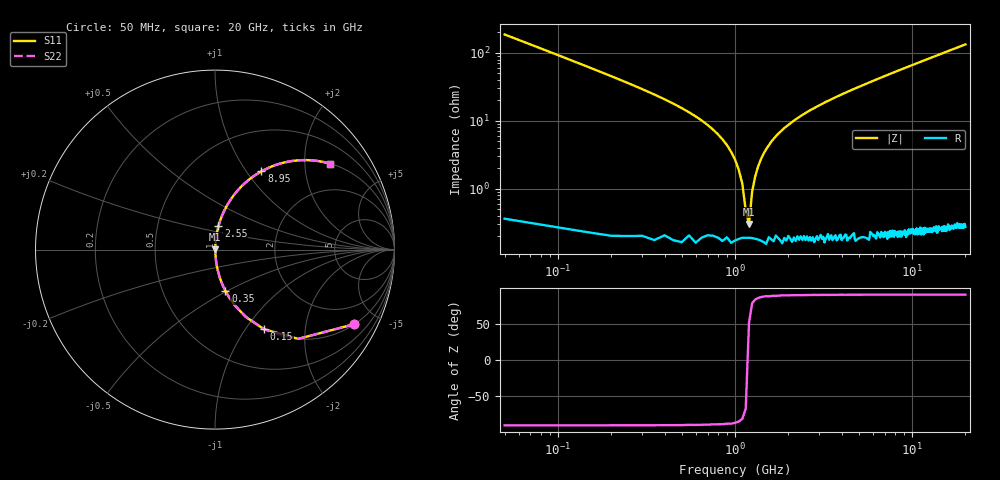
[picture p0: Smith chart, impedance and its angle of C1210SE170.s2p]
! AVX Thin Film Operation		Date: April 2012
! Description: Accu-P® Series, Thin Film, SMD, RF Capacitor
! Part Number: 12101J170FBTTR
!	50	MHz	-	20.05	GHz
!	Serial	Measurements
#	MHZ	S	MA	R	50
!	S11	S21	S12	S22
!	dB	Phase	dB	Phase	dB	Phase	dB	Phase
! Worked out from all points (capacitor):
!   400 points, 50 MHz to 20 GHz, reference 50 ohm
!   read as one part in series: C = 17 pF near 150 MHz
!   lowest |Z| = 302 mohm at 1.2 GHz (marker M1)
!   series resonance near 1.182 GHz, so ESL is about 1.1 nH
!   S11 on the Smith chart (normalised r, x): 50 MHz: 1.01, -3.74; 150 MHz: 1.01, -1.23; 350 MHz: 1.00, -0.49; 2.55 GHz: 1.00, +0.27; 8.95 GHz: 1.00, +1.18; 20 GHz: 1.00, +2.67
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50  0.881 -28.1  0.471 61.8  0.471 61.8  0.881 -28.1
100  0.68 -47.0  0.731 42.8  0.731 42.8  0.68 -47.0
150  0.522 -58.3  0.851 31.5  0.851 31.5  0.522 -58.3
250  0.336 -70.0  0.94 19.6  0.94 19.6  0.336 -70.0
350  0.237 -75.9  0.97 13.7  0.97 13.7  0.237 -75.9
950  0.035 -85.1  0.998 2.0  0.998 2.0  0.035 -85.1
1100  0.012 -80.5  0.998 0.7  0.998 0.7  0.012 -80.5
1150  0.004717 -67.6  0.998 0.2  0.998 0.2  0.004717 -67.6
1200  0.002952 52.9  0.998 -0.1  0.998 -0.1  0.002952 52.9
1250  0.008994 78.1  0.998 -0.5  0.998 -0.5  0.008994 78.1
1300  0.015 82.4  0.998 -0.9  0.998 -0.9  0.015 82.4
1400  0.027 84.7  0.998 -1.5  0.998 -1.5  0.027 84.7
1500  0.038 85.1  0.998 -2.2  0.998 -2.2  0.038 85.1
1900  0.078 84.2  0.995 -4.5  0.995 -4.5  0.078 84.2
2550  0.133 81.6  0.989 -7.6  0.989 -7.6  0.133 81.6
3400  0.196 78.2  0.979 -11.3  0.979 -11.3  0.196 78.2
6700  0.398 66.3  0.915 -23.5  0.915 -23.5  0.398 66.3
8950  0.507 59.3  0.86 -30.4  0.86 -30.4  0.507 59.3
10050  0.552 56.3  0.832 -33.5  0.832 -33.5  0.552 56.3
13350  0.663 48.3  0.747 -41.5  0.747 -41.5  0.663 48.3
16700  0.743 41.9  0.668 -48.0  0.668 -48.0  0.743 41.9
20000  0.8 36.8  0.599 -53.1  0.599 -53.1  0.8 36.8
